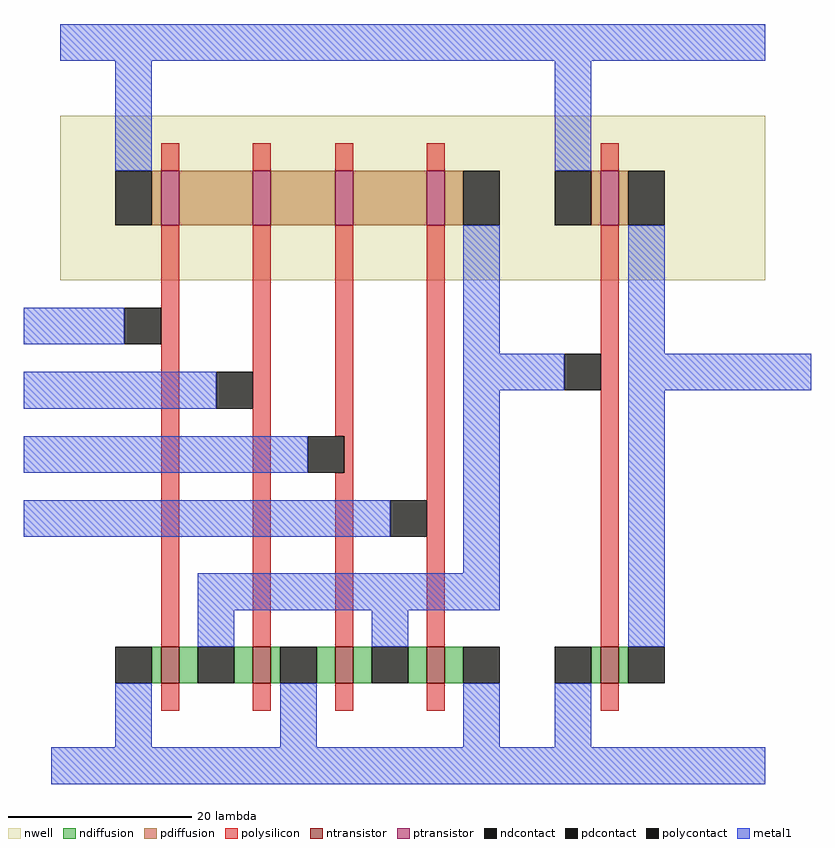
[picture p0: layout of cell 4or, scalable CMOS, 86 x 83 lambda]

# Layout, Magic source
magic
tech scmos
<< nwell >>
rect -13 7 64 25
<< ntransistor >>
rect -2 -37 0 -33
rect 8 -37 10 -33
rect 17 -37 19 -33
rect 27 -37 29 -33
rect 46 -37 48 -33
<< ptransistor >>
rect -2 13 0 19
rect 8 13 10 19
rect 17 13 19 19
rect 27 13 29 19
rect 46 13 48 19
<< ndiffusion >>
rect -3 -37 -2 -33
rect 0 -37 2 -33
rect 6 -37 8 -33
rect 10 -37 11 -33
rect 15 -37 17 -33
rect 19 -37 21 -33
rect 25 -37 27 -33
rect 29 -37 31 -33
rect 45 -37 46 -33
rect 48 -37 49 -33
<< pdiffusion >>
rect -3 13 -2 19
rect 0 13 8 19
rect 10 13 17 19
rect 19 13 27 19
rect 29 13 31 19
rect 45 13 46 19
rect 48 13 49 19
<< ndcontact >>
rect -7 -37 -3 -33
rect 2 -37 6 -33
rect 11 -37 15 -33
rect 21 -37 25 -33
rect 31 -37 35 -33
rect 41 -37 45 -33
rect 49 -37 53 -33
<< pdcontact >>
rect -7 13 -3 19
rect 31 13 35 19
rect 41 13 45 19
rect 49 13 53 19
<< polysilicon >>
rect -2 19 0 22
rect 8 19 10 22
rect 17 19 19 22
rect 27 19 29 22
rect 46 19 48 22
rect -2 -33 0 13
rect 8 -33 10 13
rect 17 -10 19 13
rect 18 -14 19 -10
rect 17 -33 19 -14
rect 27 -33 29 13
rect 46 -33 48 13
rect -2 -40 0 -37
rect 8 -40 10 -37
rect 17 -40 19 -37
rect 27 -40 29 -37
rect 46 -40 48 -37
<< polycontact >>
rect -6 0 -2 4
rect 4 -7 8 -3
rect 14 -14 18 -10
rect 23 -21 27 -17
rect 42 -5 46 -1
<< metal1 >>
rect -13 31 64 35
rect -7 19 -3 31
rect 41 19 45 31
rect -17 0 -6 4
rect 31 -1 35 13
rect 49 -1 53 13
rect -17 -7 4 -3
rect 31 -5 42 -1
rect 49 -5 69 -1
rect -17 -14 14 -10
rect -17 -21 23 -17
rect 31 -25 35 -5
rect 2 -29 35 -25
rect 2 -33 6 -29
rect 21 -33 25 -29
rect 49 -33 53 -5
rect -7 -44 -3 -37
rect 11 -44 15 -37
rect 31 -44 35 -37
rect 41 -44 45 -37
rect -14 -48 64 -44
<< end >>
